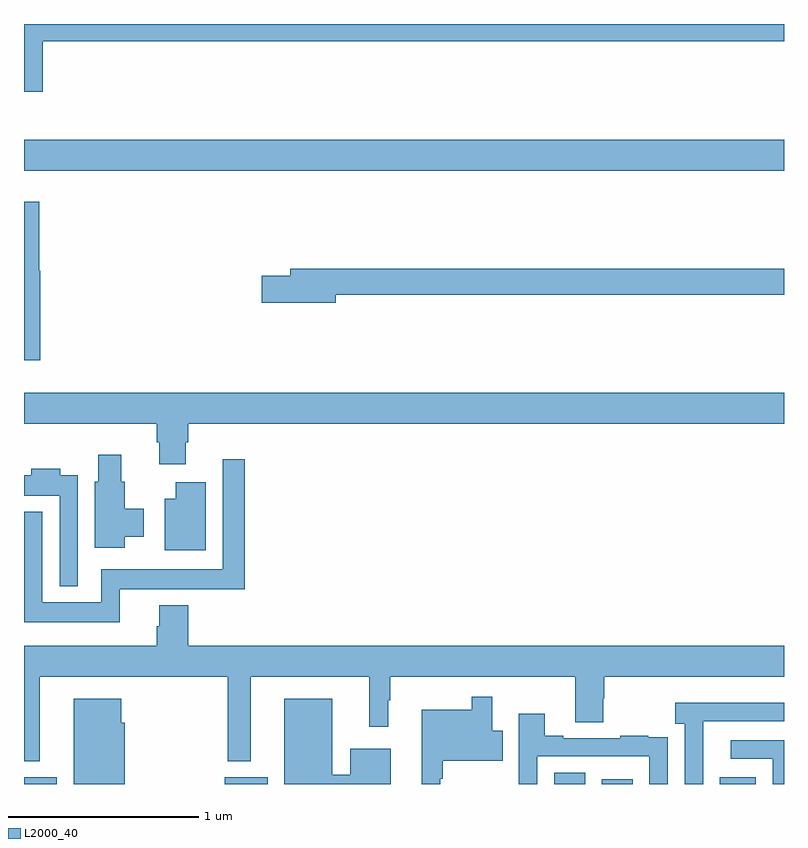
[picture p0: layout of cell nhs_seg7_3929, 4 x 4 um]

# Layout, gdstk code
import gdstk
lib = gdstk.Library(unit=1e-6, precision=1e-09)
def R(c, l, rs):  # rectangles x0, y0, x1, y1
    for r in rs: c.add(gdstk.rectangle(r[:2], r[2:], *l))
def P(c, l, *ps):  # polygons
    for p in ps: c.add(gdstk.Polygon(p, *l))
L2000_40 = (2000, 40)

nhs_seg7_3929 = lib.new_cell('nhs_seg7_3929')
R(nhs_seg7_3929, L2000_40, [(359,1052,359.173,1052.035), (360.056,1052,360.283,1052.035), (361.79,1052,361.954,1052.06), (362.042,1052,362.203,1052.026), (362.663,1052,362.851,1052.035), (359,1055.228,363,1055.392)])
P(nhs_seg7_3929, L2000_40, [(359.099,1055.908),(363,1055.908),(363,1056),(359,1056),(359,1055.643),(359.099,1055.643)],
  [(359.086,1054.701),(359.081,1054.701),(359.081,1055.065),(359,1055.065),(359,1054.23),(359.086,1054.23)],
  [(360.64,1054.576),(363,1054.576),(363,1054.712),(360.401,1054.712),(360.401,1054.676),(360.252,1054.676),(360.252,1054.534),(360.64,1054.534)],
  [(359.851,1053.798),(359.864,1053.798),(359.864,1053.896),(363,1053.896),(363,1054.06),(359,1054.06),(359,1053.896),(359.699,1053.896),(359.699,1053.798),(359.711,1053.798),(359.711,1053.684),(359.851,1053.684)],
  [(359.53,1053.302),(359.629,1053.302),(359.629,1053.45),(359.53,1053.45),(359.53,1053.591),(359.512,1053.591),(359.512,1053.733),(359.39,1053.733),(359.39,1053.591),(359.372,1053.591),(359.372,1053.243),(359.53,1053.243)],
  [(359.504,1053.026),(360.038,1053.026),(360.038,1053.024),(360.161,1053.024),(360.161,1053.709),(360.045,1053.709),(360.045,1053.13),(359.406,1053.13),(359.406,1052.956),(359.097,1052.956),(359.097,1053.433),(359,1053.433),(359,1052.852),(359.504,1052.852)],
  [(359.283,1053.625),(359.191,1053.625),(359.191,1053.658),(359.039,1053.658),(359.039,1053.625),(359,1053.625),(359,1053.518),(359.187,1053.518),(359.187,1053.041),(359.283,1053.041)],
  [(359.956,1053.589),(359.798,1053.589),(359.798,1053.502),(359.741,1053.502),(359.741,1053.23),(359.956,1053.23)],
  [(359.083,1052.564),(360.072,1052.564),(360.072,1052.12),(360.193,1052.12),(360.193,1052.564),(360.818,1052.564),(360.818,1052.301),(360.916,1052.301),(360.916,1052.441),(360.928,1052.441),(360.928,1052.564),(361.901,1052.564),(361.901,1052.326),(362.049,1052.326),(362.049,1052.451),(362.054,1052.451),(362.054,1052.564),(363,1052.564),(363,1052.728),(359.864,1052.728),(359.864,1052.941),(359.711,1052.941),(359.711,1052.829),(359.699,1052.829),(359.699,1052.728),(359,1052.728),(359,1052.12),(359.083,1052.12)],
  [(361.191,1052.027),(361.204,1052.027),(361.204,1052.123),(361.519,1052.123),(361.519,1052.281),(361.465,1052.281),(361.465,1052.458),(361.356,1052.458),(361.356,1052.392),(361.094,1052.392),(361.094,1052),(361.191,1052)],
  [(360.931,1052.185),(360.716,1052.185),(360.716,1052.048),(360.622,1052.048),(360.622,1052.449),(360.371,1052.449),(360.371,1052),(360.931,1052)],
  [(359.53,1052.322),(359.512,1052.322),(359.512,1052.449),(359.261,1052.449),(359.261,1052),(359.53,1052)],
  [(362.574,1052.131),(362.575,1052.131),(362.575,1052.331),(363,1052.331),(363,1052.428),(362.427,1052.428),(362.427,1052.318),(362.478,1052.318),(362.478,1052),(362.574,1052)],
  [(361.701,1052.145),(362.292,1052.145),(362.292,1052),(362.388,1052),(362.388,1052.138),(362.387,1052.138),(362.387,1052.247),(362.285,1052.247),(362.285,1052.254),(362.137,1052.254),(362.137,1052.241),(361.837,1052.241),(361.837,1052.254),(361.741,1052.254),(361.741,1052.371),(361.605,1052.371),(361.605,1052),(361.701,1052)],
  [(363,1052.229),(362.721,1052.229),(362.721,1052.133),(362.94,1052.133),(362.94,1052),(363,1052)])

lib.write_gds('nhs_seg7_3929.gds')
